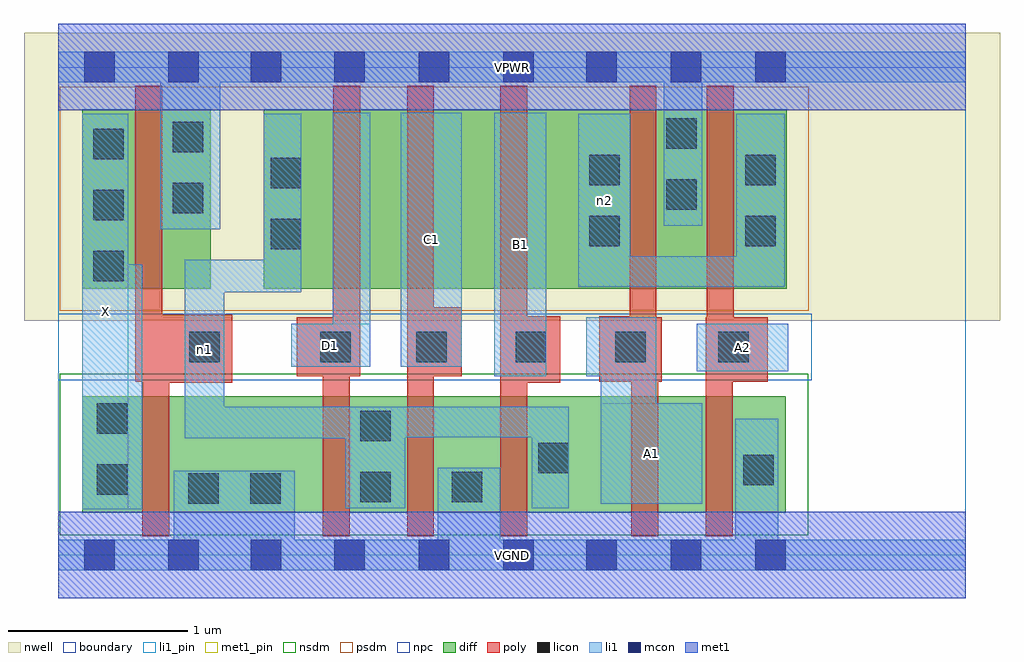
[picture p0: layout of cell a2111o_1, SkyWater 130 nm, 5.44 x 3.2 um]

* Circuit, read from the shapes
.subckt a2111o_1 A1 A2 B1 C1 D1 VGND VPWR X n1 n2
XM1 VGND n1 X VSUBS sky130_fd_pr__nfet_01v8 w=0.65 l=0.15
XM2 n1 D1 VGND VSUBS sky130_fd_pr__nfet_01v8 w=0.65 l=0.15
XM3 VGND C1 n1 VSUBS sky130_fd_pr__nfet_01v8 w=0.65 l=0.15
XM4 n1 B1 VGND VSUBS sky130_fd_pr__nfet_01v8 w=0.65 l=0.15
XM5 n3 A1 n1 VSUBS sky130_fd_pr__nfet_01v8 w=0.65 l=0.15
XM6 VGND A2 n3 VSUBS sky130_fd_pr__nfet_01v8 w=0.65 l=0.15
XM7 VPWR n1 X n4 sky130_fd_pr__pfet_01v8 w=1 l=0.15
XM8 n5 D1 n1 n4 sky130_fd_pr__pfet_01v8 w=1 l=0.15
XM9 n6 C1 n5 n4 sky130_fd_pr__pfet_01v8 w=1 l=0.15
XM10 n2 B1 n6 n4 sky130_fd_pr__pfet_01v8 w=1 l=0.15
XM11 VPWR A1 n2 n4 sky130_fd_pr__pfet_01v8 w=1 l=0.15
XM12 n2 A2 VPWR n4 sky130_fd_pr__pfet_01v8 w=1 l=0.15
.ends

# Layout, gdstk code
import gdstk
lib = gdstk.Library(unit=1e-6, precision=1e-09)
def R(c, l, rs):  # rectangles x0, y0, x1, y1
    for r in rs: c.add(gdstk.rectangle(r[:2], r[2:], *l))
def A(c, l, x, y, w, h, nx, ny, dx, dy):  # array of equal rectangles
    R(c, l, [(x+i*dx, y+j*dy, x+i*dx+w, y+j*dy+h) for i in range(nx) for j in range(ny)])
nwell = (64, 20)
diff = (65, 20)
poly = (66, 20)
licon = (66, 44)
li1_pin = (67, 16)
li1 = (67, 20)
mcon = (67, 44)
met1_pin = (68, 16)
met1 = (68, 20)
nsdm = (93, 44)
psdm = (94, 20)
npc = (95, 20)
boundary = (235, 4)

a2111o_1 = lib.new_cell('a2111o_1')
R(a2111o_1, nwell, [(-0.19,1.305,5.25,2.91), (0,1.305,5.06,2.91)])
R(a2111o_1, diff, [(0.135,0.235,4.055,0.885), (0.135,1.485,0.85,2.485), (1.145,1.485,4.06,2.485)])
R(a2111o_1, poly, [(0.47,0.105,0.62,1.34), (1.475,0.105,1.625,1.325), (1.945,0.105,2.095,2.615), (2.465,0.105,2.615,2.615), (3.195,0.105,3.345,1.325), (3.61,0.105,3.76,1.325), (0.47,0.96,0.97,1.34), (2.465,0.96,2.8,1.33), (0.43,0.965,0.58,2.615), (3.015,0.965,3.365,1.325), (3.015,0.965,3.335,1.33), (3.185,0.965,3.335,2.615), (3.61,0.965,3.955,1.325), (3.615,0.965,3.765,2.615), (1.33,0.995,1.685,1.325), (1.535,0.995,1.685,2.615), (1.945,0.995,2.25,1.38)])
A(a2111o_1, licon, 1.995, 1.075, 0.17, 0.17, 3, 1, 0.555, 0)
A(a2111o_1, licon, 0.195, 1.525, 0.17, 0.17, 1, 3, 0, 0.34)
R(a2111o_1, licon, [(0.725,0.285,0.895,0.455), (1.07,0.285,1.24,0.455), (1.685,0.295,1.855,0.465), (2.195,0.295,2.365,0.465), (0.215,0.335,0.385,0.505), (3.82,0.39,3.99,0.56), (2.675,0.455,2.845,0.625), (1.685,0.635,1.855,0.805), (0.215,0.675,0.385,0.845), (0.73,1.075,0.9,1.245), (1.46,1.075,1.63,1.245), (3.68,1.075,3.85,1.245), (1.185,1.705,1.355,1.875), (2.96,1.72,3.13,1.89), (3.83,1.72,4,1.89), (0.64,1.905,0.81,2.075), (3.39,1.925,3.56,2.095), (1.185,2.045,1.355,2.215), (2.96,2.06,3.13,2.23), (3.83,2.06,4,2.23), (0.64,2.245,0.81,2.415), (3.39,2.265,3.56,2.435)])
R(a2111o_1, li1_pin, [(0.135,0.255,0.39,2.46), (3.025,0.285,3.59,0.845), (2.43,0.995,2.72,2.465), (3.56,1.025,4.07,1.29), (1.3,1.05,1.74,1.29), (1.91,1.05,2.25,2.465)])
R(a2111o_1, li1, [(0,-0.085,5.06,0.085), (0.645,-0.085,1.32,0.47), (2.115,-0.085,2.465,0.485), (3.775,-0.085,4.015,0.76), (0.135,0.255,0.39,2.46), (0.135,0.255,0.47,1.62), (1.6,0.26,1.935,0.825), (2.64,0.26,2.845,0.825), (3.025,0.285,3.335,1.325), (3.025,0.285,3.59,0.845), (0.705,0.65,0.925,1.645), (0.705,0.65,1.935,0.825), (0.705,0.655,2.845,0.825), (2.43,0.995,2.72,2.465), (2.945,0.995,3.335,1.325), (3.56,1.025,4.07,1.29), (1.3,1.05,1.74,1.29), (1.53,1.05,1.74,2.465), (1.91,1.05,2.25,2.465), (0.705,1.465,1.355,1.645), (1.145,1.465,1.355,2.46), (2.9,1.495,3.19,2.46), (2.9,1.495,4.05,1.665), (3.78,1.495,4.05,2.46), (0.57,1.815,0.905,2.805), (3.375,1.835,3.59,2.805), (0,2.635,5.06,2.805)])
A(a2111o_1, mcon, 1.54, -0.085, 0.17, 0.17, 3, 2, 0.47, 2.72)
A(a2111o_1, mcon, 2.945, -0.085, 0.17, 0.17, 3, 2, 0.47, 2.72)
R(a2111o_1, mcon, [(0.145,-0.085,0.315,0.085), (0.615,-0.085,0.785,0.085), (1.075,-0.085,1.245,0.085), (0.145,2.635,0.315,2.805), (0.615,2.635,0.785,2.805), (1.075,2.635,1.245,2.805)])
R(a2111o_1, met1_pin, [(0,-0.24,5.06,0.24), (0,2.48,5.06,2.96)])
R(a2111o_1, met1, [(0,-0.24,5.06,0.24), (0,2.48,5.06,2.96)])
R(a2111o_1, nsdm, [(0.01,0.11,4.18,1.01)])
R(a2111o_1, psdm, [(0.01,1.36,4.185,2.61)])
R(a2111o_1, npc, [(0,0.975,4.2,1.345)])
R(a2111o_1, boundary, [(0,0,5.06,2.72)])
a2111o_1.add(gdstk.Label('A1', (3.307,0.565), layer=67, texttype=5))
a2111o_1.add(gdstk.Label('A2', (3.815,1.157), layer=67, texttype=5))
a2111o_1.add(gdstk.Label('B1', (2.575,1.73), layer=67, texttype=5))
a2111o_1.add(gdstk.Label('C1', (2.08,1.757), layer=67, texttype=5))
a2111o_1.add(gdstk.Label('D1', (1.52,1.17), layer=67, texttype=5))
a2111o_1.add(gdstk.Label('X', (0.262,1.357), layer=67, texttype=5))
a2111o_1.add(gdstk.Label('n1', (0.815,1.147), layer=67, texttype=5))
a2111o_1.add(gdstk.Label('n2', (3.045,1.977), layer=67, texttype=5))
a2111o_1.add(gdstk.Label('VPWR', (2.53,2.72), layer=68, texttype=5))
a2111o_1.add(gdstk.Label('VGND', (2.53,0), layer=68, texttype=5))
a2111o_1.add(gdstk.Label('A1', (3.307,0.565), layer=67, texttype=16))
a2111o_1.add(gdstk.Label('A2', (3.815,1.157), layer=67, texttype=16))
a2111o_1.add(gdstk.Label('B1', (2.575,1.73), layer=67, texttype=16))
a2111o_1.add(gdstk.Label('C1', (2.08,1.757), layer=67, texttype=16))
a2111o_1.add(gdstk.Label('D1', (1.52,1.17), layer=67, texttype=16))
a2111o_1.add(gdstk.Label('X', (0.262,1.357), layer=67, texttype=16))
a2111o_1.add(gdstk.Label('VPWR', (2.53,2.72), layer=68, texttype=16))
a2111o_1.add(gdstk.Label('VGND', (2.53,0), layer=68, texttype=16))

lib.write_gds('a2111o_1.gds')
